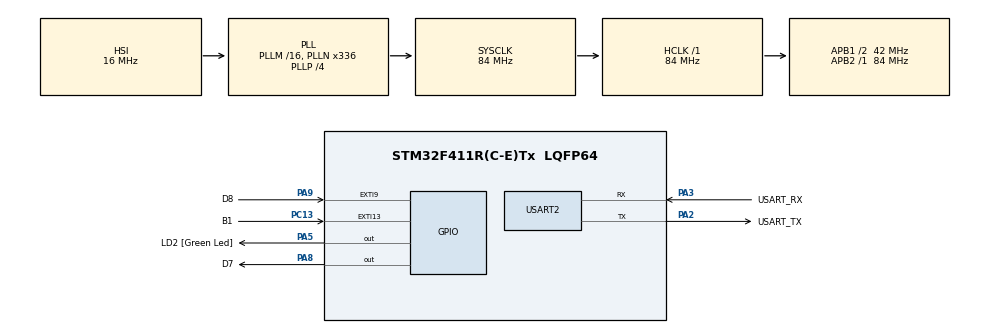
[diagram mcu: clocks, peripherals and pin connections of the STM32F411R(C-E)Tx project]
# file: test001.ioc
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Mcu.Family=STM32F4
Mcu.Name=STM32F411R(C-E)Tx
Mcu.Package=LQFP64
NVIC.EXTI15_10_IRQn=true\:0\:0\:false\:false\:true\:true\:true\:true
NVIC.EXTI9_5_IRQn=true\:0\:0\:false\:false\:true\:true\:true\:true
NVIC.PriorityGroup=NVIC_PRIORITYGROUP_0
PA13.GPIO_Label=TMS
PA13.Mode=Serial_Wire
PA13.Signal=SYS_JTMS-SWDIO
PA14.GPIO_Label=TCK
PA14.Mode=Serial_Wire
PA14.Signal=SYS_JTCK-SWCLK
PA2.GPIO_Label=USART_TX
PA2.Mode=Asynchronous
PA2.Signal=USART2_TX
PA3.GPIO_Label=USART_RX
PA3.Mode=Asynchronous
PA3.Signal=USART2_RX
PA5.GPIO_Label=LD2 [Green Led]
PA5.Signal=GPIO_Output
PA8.GPIO_Label=D7
PA8.Signal=GPIO_Output
PA9.GPIO_Label=D8
PA9.Signal=GPXTI9
PB3.GPIO_Label=SWO
PB3.Signal=SYS_JTDO-SWO
PC13-ANTI_TAMP.GPIO_Label=B1
PC13-ANTI_TAMP.Signal=GPXTI13
PC14-OSC32_IN.Mode=LSE-External-Oscillator
PC14-OSC32_IN.Signal=RCC_OSC32_IN
PC15-OSC32_OUT.Mode=LSE-External-Oscillator
PC15-OSC32_OUT.Signal=RCC_OSC32_OUT
PH0\ -\ OSC_IN.Mode=HSE-External-Clock-Source
PH0\ -\ OSC_IN.Signal=RCC_OSC_IN
PH1\ -\ OSC_OUT.Mode=HSE-External-Clock-Source
PH1\ -\ OSC_OUT.Signal=RCC_OSC_OUT
ProjectManager.HeapSize=0x200
ProjectManager.StackSize=0x400
ProjectManager.TargetToolchain=STM32CubeIDE
RCC.48MHZClocksFreq_Value=84000000
RCC.AHBFreq_Value=84000000
RCC.APB1CLKDivider=RCC_HCLK_DIV2
RCC.APB1Freq_Value=42000000
RCC.APB1TimFreq_Value=84000000
RCC.APB2Freq_Value=84000000
RCC.APB2TimFreq_Value=84000000
RCC.CortexFreq_Value=84000000
RCC.FLatency-AdvancedSettings=FLASH_LATENCY_2
RCC.HCLKFreq_Value=84000000
RCC.HSE_VALUE=8000000
RCC.HSI_VALUE=16000000
RCC.PLLN=336
RCC.PLLP=RCC_PLLP_DIV4
RCC.SYSCLKFreq_VALUE=84000000
RCC.SYSCLKSource=RCC_SYSCLKSOURCE_PLLCLK
RCC.VCOOutputFreq_Value=336000000
USART2.VirtualMode=VM_ASYNC
board=NUCLEO-F411RE

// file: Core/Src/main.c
/* USER CODE BEGIN Header */
/**
  ******************************************************************************
  * @file           : main.c
  * @brief          : Main program body
  ******************************************************************************
  * @attention
  *
  * Copyright (c) 2024 STMicroelectronics.
  * All rights reserved.
  *
  * This software is licensed under terms that can be found in the LICENSE file
  * in the root directory of this software component.
  * If no LICENSE file comes with this software, it is provided AS-IS.
  *
  ******************************************************************************
  */
/* USER CODE END Header */
#include "main.h"

UART_HandleTypeDef huart2;

void SystemClock_Config(void);
static void MX_GPIO_Init(void);
static void MX_USART2_UART_Init(void);

/* USER CODE BEGIN 0 */

/*void standBy()
{

}*/
int mode = 0;  	// mode = 0 : stop, mode = 1 : flash
volatile int time = 1000;	// flash duty

void HAL_GPIO_EXTI_Callback(uint16_t GPIO_Pin)  // external interrupt ISR
{
	  /*if(HAL_GPIO_ReadPin(B1_GPIO_Port,B1_Pin)==0)
		  {
		  	  mode = mode ? 0 : 1;
		  //}*/
	  switch(GPIO_Pin)
	  {
	  case B1_Pin :
		  mode = mode ? 0:1;
		  break;
	  case D8_Pin :
		  /*time -= 100;
		  if(time == 100)	time = 500;*/
		  time = (time<=200) ? 1000: time-100;
		  break;
	  }
}

/* USER CODE END 0 */

int main(void)
{

  /* MCU Configuration--------------------------------------------------------*/

  /* Reset of all peripherals, Initializes the Flash interface and the Systick. */
  HAL_Init();

  /* Configure the system clock */
  SystemClock_Config();

  /* Initialize all configured peripherals */
  MX_GPIO_Init();
  MX_USART2_UART_Init();
  /* USER CODE BEGIN 2 */

  while(1)
  {
	  if(mode)
	  {
		  HAL_GPIO_WritePin(D7_GPIO_Port, D7_Pin,1);
		  HAL_Delay(time);
		  HAL_GPIO_WritePin(D7_GPIO_Port, D7_Pin,0);
		  HAL_Delay(time);
	  }
  }
  /* USER CODE END 2 */

  /* Infinite loop */
  while (1)
  {

  }
}

void SystemClock_Config(void)
{
  RCC_OscInitTypeDef RCC_OscInitStruct = {0};
  RCC_ClkInitTypeDef RCC_ClkInitStruct = {0};

  /** Configure the main internal regulator output voltage
  */
  __HAL_RCC_PWR_CLK_ENABLE();
  __HAL_PWR_VOLTAGESCALING_CONFIG(PWR_REGULATOR_VOLTAGE_SCALE1);

  /** Initializes the RCC Oscillators according to the specified parameters
  * in the RCC_OscInitTypeDef structure.
  */
  RCC_OscInitStruct.OscillatorType = RCC_OSCILLATORTYPE_HSI;
  RCC_OscInitStruct.HSIState = RCC_HSI_ON;
  RCC_OscInitStruct.HSICalibrationValue = RCC_HSICALIBRATION_DEFAULT;
  RCC_OscInitStruct.PLL.PLLState = RCC_PLL_ON;
  RCC_OscInitStruct.PLL.PLLSource = RCC_PLLSOURCE_HSI;
  RCC_OscInitStruct.PLL.PLLM = 16;
  RCC_OscInitStruct.PLL.PLLN = 336;
  RCC_OscInitStruct.PLL.PLLP = RCC_PLLP_DIV4;
  RCC_OscInitStruct.PLL.PLLQ = 4;
  if (HAL_RCC_OscConfig(&RCC_OscInitStruct) != HAL_OK)
  {
    Error_Handler();
  }

  /** Initializes the CPU, AHB and APB buses clocks
  */
  RCC_ClkInitStruct.ClockType = RCC_CLOCKTYPE_HCLK|RCC_CLOCKTYPE_SYSCLK
                              |RCC_CLOCKTYPE_PCLK1|RCC_CLOCKTYPE_PCLK2;
  RCC_ClkInitStruct.SYSCLKSource = RCC_SYSCLKSOURCE_PLLCLK;
  RCC_ClkInitStruct.AHBCLKDivider = RCC_SYSCLK_DIV1;
  RCC_ClkInitStruct.APB1CLKDivider = RCC_HCLK_DIV2;
  RCC_ClkInitStruct.APB2CLKDivider = RCC_HCLK_DIV1;

  if (HAL_RCC_ClockConfig(&RCC_ClkInitStruct, FLASH_LATENCY_2) != HAL_OK)
  {
    Error_Handler();
  }
}

static void MX_USART2_UART_Init(void)
{

  huart2.Instance = USART2;
  huart2.Init.BaudRate = 115200;
  huart2.Init.WordLength = UART_WORDLENGTH_8B;
  huart2.Init.StopBits = UART_STOPBITS_1;
  huart2.Init.Parity = UART_PARITY_NONE;
  huart2.Init.Mode = UART_MODE_TX_RX;
  huart2.Init.HwFlowCtl = UART_HWCONTROL_NONE;
  huart2.Init.OverSampling = UART_OVERSAMPLING_16;
  if (HAL_UART_Init(&huart2) != HAL_OK)
  {
    Error_Handler();
  }

}

static void MX_GPIO_Init(void)
{
  GPIO_InitTypeDef GPIO_InitStruct = {0};

  /* GPIO Ports Clock Enable */
  __HAL_RCC_GPIOC_CLK_ENABLE();
  __HAL_RCC_GPIOH_CLK_ENABLE();
  __HAL_RCC_GPIOA_CLK_ENABLE();
  __HAL_RCC_GPIOB_CLK_ENABLE();

  /*Configure GPIO pin Output Level */
  HAL_GPIO_WritePin(GPIOA, LD2_Pin|D7_Pin, GPIO_PIN_RESET);

  /*Configure GPIO pin : B1_Pin */
  GPIO_InitStruct.Pin = B1_Pin;
  GPIO_InitStruct.Mode = GPIO_MODE_IT_RISING;
  GPIO_InitStruct.Pull = GPIO_NOPULL;
  HAL_GPIO_Init(B1_GPIO_Port, &GPIO_InitStruct);

  /*Configure GPIO pins : LD2_Pin D7_Pin */
  GPIO_InitStruct.Pin = LD2_Pin|D7_Pin;
  GPIO_InitStruct.Mode = GPIO_MODE_OUTPUT_PP;
  GPIO_InitStruct.Pull = GPIO_NOPULL;
  GPIO_InitStruct.Speed = GPIO_SPEED_FREQ_LOW;
  HAL_GPIO_Init(GPIOA, &GPIO_InitStruct);

  /*Configure GPIO pin : D8_Pin */
  GPIO_InitStruct.Pin = D8_Pin;
  GPIO_InitStruct.Mode = GPIO_MODE_IT_RISING;
  GPIO_InitStruct.Pull = GPIO_NOPULL;
  HAL_GPIO_Init(D8_GPIO_Port, &GPIO_InitStruct);

  /* EXTI interrupt init*/
  HAL_NVIC_SetPriority(EXTI9_5_IRQn, 0, 0);
  HAL_NVIC_EnableIRQ(EXTI9_5_IRQn);

  HAL_NVIC_SetPriority(EXTI15_10_IRQn, 0, 0);
  HAL_NVIC_EnableIRQ(EXTI15_10_IRQn);

}

void Error_Handler(void)
{
  __disable_irq();
  while (1)
  {
  }
}
